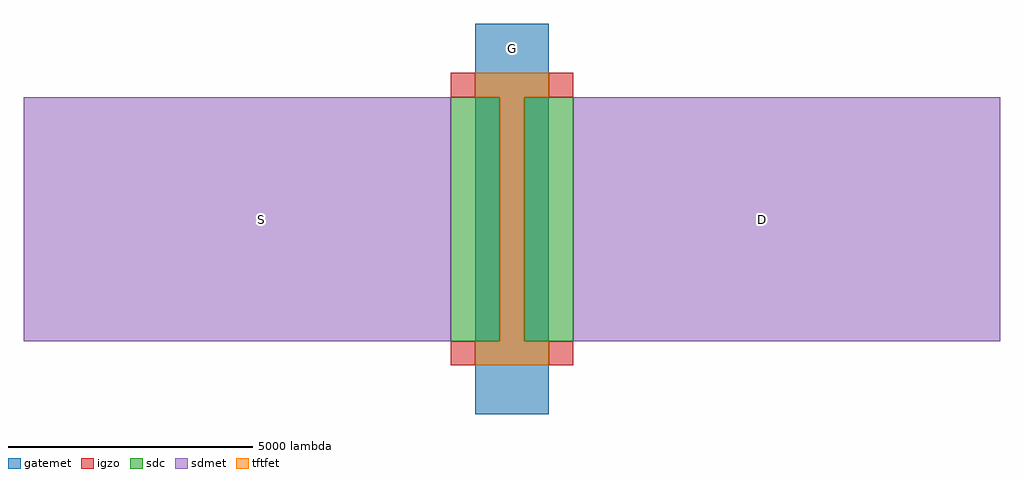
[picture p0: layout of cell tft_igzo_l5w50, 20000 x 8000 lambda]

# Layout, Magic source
magic
tech igzo_mmm_lab
<< igzo >>
rect -1250 2500 -750 3000
rect 750 2500 1250 3000
rect -1250 -3000 -750 -2500
rect 750 -3000 1250 -2500
<< tftfet >>
rect -750 2500 750 3000
rect -250 -2500 250 2500
rect -750 -3000 750 -2500
<< sdc >>
rect -1250 -2500 -250 2500
rect 250 -2500 1250 2500
<< sdmet >>
rect -10000 -2500 -1250 2500
rect 1250 -2500 10000 2500
<< gatemet >>
rect -750 -4000 750 4000
<< labels >>
rlabel sdmet s -5375 -250 -4875 250 4 S
port 3 nsew
rlabel sdmet s 4875 -250 5375 250 4 D
port 5 nsew
rlabel gatemet s -250 3250 250 3750 4 G
port 7 nsew
<< end >>
